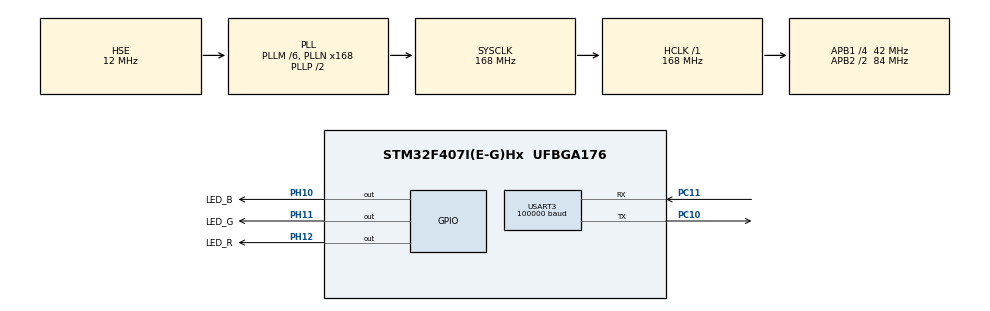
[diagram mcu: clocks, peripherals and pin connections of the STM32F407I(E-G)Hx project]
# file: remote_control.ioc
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Dma.Request0=USART3_RX
Dma.USART3_RX.0.Direction=DMA_PERIPH_TO_MEMORY
Dma.USART3_RX.0.FIFOMode=DMA_FIFOMODE_DISABLE
Dma.USART3_RX.0.Instance=DMA1_Stream1
Dma.USART3_RX.0.MemDataAlignment=DMA_MDATAALIGN_BYTE
Dma.USART3_RX.0.MemInc=DMA_MINC_ENABLE
Dma.USART3_RX.0.Mode=DMA_CIRCULAR
Dma.USART3_RX.0.PeriphDataAlignment=DMA_PDATAALIGN_BYTE
Dma.USART3_RX.0.PeriphInc=DMA_PINC_DISABLE
Dma.USART3_RX.0.Priority=DMA_PRIORITY_VERY_HIGH
Mcu.Family=STM32F4
Mcu.Name=STM32F407I(E-G)Hx
Mcu.Package=UFBGA176
NVIC.DMA1_Stream1_IRQn=true\:0\:0\:false\:false\:false\:false\:true\:true
NVIC.PriorityGroup=NVIC_PRIORITYGROUP_4
NVIC.USART3_IRQn=true\:0\:0\:false\:false\:false\:true\:true\:true
PA13.Mode=Serial_Wire
PA13.Signal=SYS_JTMS-SWDIO
PA14.Mode=Serial_Wire
PA14.Signal=SYS_JTCK-SWCLK
PC10.Mode=Asynchronous
PC10.Signal=USART3_TX
PC11.Mode=Asynchronous
PC11.Signal=USART3_RX
PH0-OSC_IN.Mode=HSE-External-Oscillator
PH0-OSC_IN.Signal=RCC_OSC_IN
PH1-OSC_OUT.Mode=HSE-External-Oscillator
PH1-OSC_OUT.Signal=RCC_OSC_OUT
PH10.GPIO_Label=LED_B
PH10.GPIO_PuPd=GPIO_PULLUP
PH10.GPIO_Speed=GPIO_SPEED_FREQ_HIGH
PH10.PinState=GPIO_PIN_SET
PH10.Signal=GPIO_Output
PH11.GPIO_Label=LED_G
PH11.GPIO_PuPd=GPIO_PULLUP
PH11.GPIO_Speed=GPIO_SPEED_FREQ_HIGH
PH11.PinState=GPIO_PIN_SET
PH11.Signal=GPIO_Output
PH12.GPIO_Label=LED_R
PH12.GPIO_PuPd=GPIO_PULLUP
PH12.GPIO_Speed=GPIO_SPEED_FREQ_HIGH
PH12.PinState=GPIO_PIN_SET
PH12.Signal=GPIO_Output
ProjectManager.HeapSize=0x200
ProjectManager.StackSize=0x400
ProjectManager.TargetToolchain=MDK-ARM V5
RCC.48MHZClocksFreq_Value=84000000
RCC.AHBFreq_Value=168000000
RCC.APB1CLKDivider=RCC_HCLK_DIV4
RCC.APB1Freq_Value=42000000
RCC.APB1TimFreq_Value=84000000
RCC.APB2CLKDivider=RCC_HCLK_DIV2
RCC.APB2Freq_Value=84000000
RCC.APB2TimFreq_Value=168000000
RCC.CortexFreq_Value=168000000
RCC.HCLKFreq_Value=168000000
RCC.HSE_VALUE=12000000
RCC.HSI_VALUE=16000000
RCC.LSE_VALUE=32768
RCC.PLLM=6
RCC.PLLN=168
RCC.PLLSourceVirtual=RCC_PLLSOURCE_HSE
RCC.SYSCLKFreq_VALUE=168000000
RCC.SYSCLKSource=RCC_SYSCLKSOURCE_PLLCLK
RCC.VCOOutputFreq_Value=336000000
USART3.BaudRate=100000
USART3.Mode=MODE_RX
USART3.Parity=PARITY_EVEN
USART3.VirtualMode=VM_ASYNC
board=custom

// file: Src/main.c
/* USER CODE BEGIN Header */
/**
  ******************************************************************************
  * @file           : main.c
  * @brief          : Main program body
  ******************************************************************************
  * @attention
  *
  * <h2><center>&copy; Copyright (c) 2019 STMicroelectronics.
  * All rights reserved.</center></h2>
  *
  * This software component is licensed by ST under BSD 3-Clause license,
  * the "License"; You may not use this file except in compliance with the
  * License. You may obtain a copy of the License at:
  *                        opensource.org/licenses/BSD-3-Clause
  *
  ******************************************************************************
  */
/* USER CODE END Header */

#include "main.h"
#include "dma.h"
#include "usart.h"
#include "gpio.h"

/* USER CODE BEGIN Includes */

#include "remote_control.h"
/* USER CODE END Includes */

/* USER CODE BEGIN PV */
volatile int16_t rc_debug_ch[5] = {0};  // 5个通道数据
volatile uint8_t rc_debug_sw[2] = {0};  // 2个开关状态
volatile int16_t rc_debug_mouse[3] = {0};  // 鼠标X,Y,Z
volatile uint8_t rc_debug_mouse_btn = 0;   // 鼠标按键状态
volatile uint16_t rc_debug_key = 0;        // 键盘按键状态
/* USER CODE END PV */

void SystemClock_Config(void);
void update_rc_debug_data(void);

int main(void)
{

  /* MCU Configuration--------------------------------------------------------*/

  /* Reset of all peripherals, Initializes the Flash interface and the Systick. */
  HAL_Init();

  /* Configure the system clock */
  SystemClock_Config();

  /* Initialize all configured peripherals */
  MX_GPIO_Init();
  MX_DMA_Init();
  MX_USART3_UART_Init();
  /* USER CODE BEGIN 2 */
    remote_control_init();

  /* USER CODE END 2 */

  /* Infinite loop */
  while (1)
  {

    /* USER CODE BEGIN 3 */
		 update_rc_debug_data();

    // 其他代码...
    HAL_Delay(5);  // 5ms延时
  }
  /* USER CODE END 3 */
}

void SystemClock_Config(void)
{
  RCC_OscInitTypeDef RCC_OscInitStruct = {0};
  RCC_ClkInitTypeDef RCC_ClkInitStruct = {0};

  /** Configure the main internal regulator output voltage
  */
  __HAL_RCC_PWR_CLK_ENABLE();
  __HAL_PWR_VOLTAGESCALING_CONFIG(PWR_REGULATOR_VOLTAGE_SCALE1);
  /** Initializes the CPU, AHB and APB busses clocks
  */
  RCC_OscInitStruct.OscillatorType = RCC_OSCILLATORTYPE_HSE;
  RCC_OscInitStruct.HSEState = RCC_HSE_ON;
  RCC_OscInitStruct.PLL.PLLState = RCC_PLL_ON;
  RCC_OscInitStruct.PLL.PLLSource = RCC_PLLSOURCE_HSE;
  RCC_OscInitStruct.PLL.PLLM = 6;
  RCC_OscInitStruct.PLL.PLLN = 168;
  RCC_OscInitStruct.PLL.PLLP = RCC_PLLP_DIV2;
  RCC_OscInitStruct.PLL.PLLQ = 4;
  if (HAL_RCC_OscConfig(&RCC_OscInitStruct) != HAL_OK)
  {
    Error_Handler();
  }
  /** Initializes the CPU, AHB and APB busses clocks
  */
  RCC_ClkInitStruct.ClockType = RCC_CLOCKTYPE_HCLK|RCC_CLOCKTYPE_SYSCLK
                              |RCC_CLOCKTYPE_PCLK1|RCC_CLOCKTYPE_PCLK2;
  RCC_ClkInitStruct.SYSCLKSource = RCC_SYSCLKSOURCE_PLLCLK;
  RCC_ClkInitStruct.AHBCLKDivider = RCC_SYSCLK_DIV1;
  RCC_ClkInitStruct.APB1CLKDivider = RCC_HCLK_DIV4;
  RCC_ClkInitStruct.APB2CLKDivider = RCC_HCLK_DIV2;

  if (HAL_RCC_ClockConfig(&RCC_ClkInitStruct, FLASH_LATENCY_5) != HAL_OK)
  {
    Error_Handler();
  }
}

/* USER CODE BEGIN 4 */
void update_rc_debug_data(void)
{
    static uint32_t last_update = 0;
    uint32_t now = HAL_GetTick();

    // 每10ms更新一次（100Hz）
    if (now - last_update >= 10)
    {
        last_update = now;

        // 获取遥控器数据指针
        const RC_ctrl_t *rc_data = get_remote_control_point();
        if (rc_data == NULL) return;

        // 更新通道数据
        rc_debug_ch[0] = rc_data->rc.ch[0];
        rc_debug_ch[1] = rc_data->rc.ch[1];
        rc_debug_ch[2] = rc_data->rc.ch[2];
        rc_debug_ch[3] = rc_data->rc.ch[3];
        rc_debug_ch[4] = rc_data->rc.ch[4];

        // 更新开关状态
        rc_debug_sw[0] = rc_data->rc.s[0];
        rc_debug_sw[1] = rc_data->rc.s[1];

        // 更新鼠标数据
        rc_debug_mouse[0] = rc_data->mouse.x;
        rc_debug_mouse[1] = rc_data->mouse.y;
        rc_debug_mouse[2] = rc_data->mouse.z;
        rc_debug_mouse_btn = (rc_data->mouse.press_r << 1) | rc_data->mouse.press_l;

        // 更新键盘状态
        rc_debug_key = rc_data->key.v;
    }
}
/* USER CODE END 4 */

void Error_Handler(void)
{
}

/************************ (C) COPYRIGHT STMicroelectronics *****END OF FILE****/
